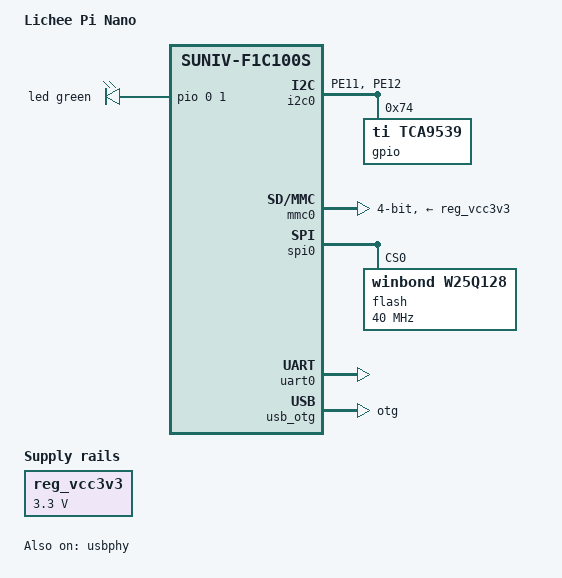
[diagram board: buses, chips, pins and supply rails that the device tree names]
// SPDX-License-Identifier: (GPL-2.0+ OR X11)
/*
 * Copyright 2018 Icenowy Zheng <icenowy@aosc.io>
 */

/dts-v1/;
#include "suniv-f1c100s.dtsi"

#include <dt-bindings/gpio/gpio.h>
#include <dt-bindings/leds/common.h>

/ {
	model = "Lichee Pi Nano";
	compatible = "licheepi,licheepi-nano", "allwinner,suniv-f1c100s";

	aliases {
		mmc0 = &mmc0;
		serial0 = &uart0;
		spi0 = &spi0;
	};

	chosen {
		stdout-path = "serial0:115200n8";
	};

	leds {
	compatible = "gpio-leds";

		led {
			function = LED_FUNCTION_STATUS;
			color = <LED_COLOR_ID_GREEN>;
			gpios = <&pio 0 1 GPIO_ACTIVE_HIGH>; /* PA1 */
			linux,default-trigger = "heartbeat";
		};
	};

	reg_vcc3v3: vcc3v3 {
		compatible = "regulator-fixed";
		regulator-name = "vcc3v3";
		regulator-min-microvolt = <3300000>;
		regulator-max-microvolt = <3300000>;
	};
};

&pio {
	i2c0_pe_pins: i2c0-pe-pins {
		pins = "PE11", "PE12";
		function = "i2c0";
	};
};


&i2c0 {
	pinctrl-names = "default";
	pinctrl-0 = <&i2c0_pe_pins>;
	status = "okay";

	gpio@74 {
		compatible = "ti,tca9539";
		reg = <0x74>;
		gpio-controller;
		#gpio-cells = <2>;
		gpio-line-names =  "P00", "P01", "P02", "P03", 
							"P04", "P05", "P06", "P07",
							"P08", "P09", "P10", "P11",
							"P12", "P13", "P14", "P15";
	};
};

&mmc0 {
	broken-cd;
	bus-width = <4>;
	disable-wp;
	status = "okay";
	vmmc-supply = <&reg_vcc3v3>;
};

&spi0 {
	pinctrl-names = "default";
	pinctrl-0 = <&spi0_pc_pins>;
	status = "okay";

	flash@0 {
		#address-cells = <1>;
		#size-cells = <1>;
		compatible = "winbond,w25q128", "jedec,spi-nor";
		reg = <0>;
		spi-max-frequency = <40000000>;
	};
};

&otg_sram {
	status = "okay";
};

&uart0 {
	pinctrl-names = "default";
	pinctrl-0 = <&uart0_pe_pins>;
	status = "okay";
};

&usb_otg {
	dr_mode = "otg";
	status = "okay";
};

&usbphy {
	usb0_id_det-gpios = <&pio 4 2 GPIO_ACTIVE_HIGH>; /* PE2 */
	status = "okay";
};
